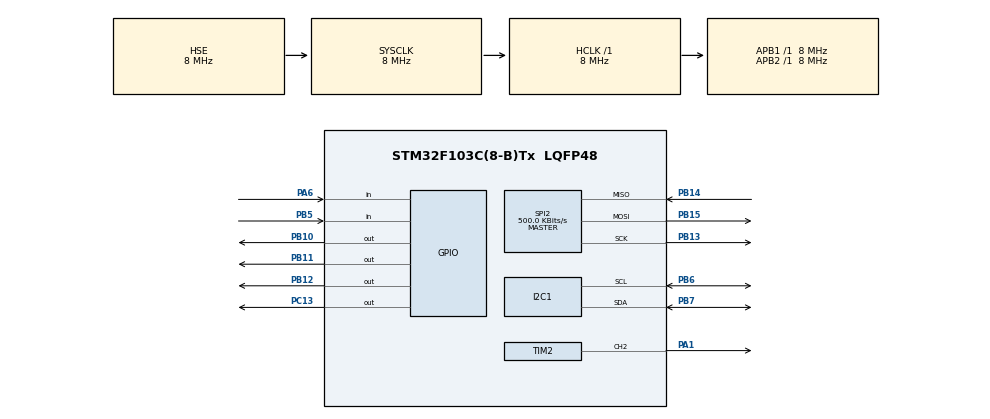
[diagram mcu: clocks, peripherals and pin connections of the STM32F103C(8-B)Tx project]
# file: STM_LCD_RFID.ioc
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Mcu.Family=STM32F1
RCC.PLLSourceVirtual=RCC_PLLSOURCE_HSE
PD1-OSC_OUT.Mode=HSE-External-Oscillator
PB10.GPIO_Speed=GPIO_SPEED_FREQ_MEDIUM
SPI2.VirtualType=VM_MASTER
PC13-TAMPER-RTC.Signal=GPIO_Output
PD0-OSC_IN.Signal=RCC_OSC_IN
TIM2.Channel-PWM\ Generation2\ CH2=TIM_CHANNEL_2
PB11.Signal=GPIO_Output
PB13.Signal=SPI2_SCK
PB15.Signal=SPI2_MOSI
RCC.SYSCLKSource=RCC_SYSCLKSOURCE_HSE
ProjectManager.StackSize=0x400
PB11.GPIO_Speed=GPIO_SPEED_FREQ_MEDIUM
PD1-OSC_OUT.Signal=RCC_OSC_OUT
PA13.Signal=SYS_JTMS-SWDIO
SH.S_TIM2_CH2.0=TIM2_CH2,PWM Generation2 CH2
ProjectManager.TargetToolchain=MDK-ARM V5
SPI2.CRCCalculation=SPI_CRCCALCULATION_DISABLE
RCC.HCLKFreq_Value=8000000
RCC.APB2TimFreq_Value=8000000
PB6.Signal=I2C1_SCL
PB12.PinState=GPIO_PIN_SET
PB6.Mode=I2C
RCC.USBFreq_Value=16000000
PA1.Signal=S_TIM2_CH2
RCC.AHBFreq_Value=8000000
SPI2.BaudRatePrescaler=SPI_BAUDRATEPRESCALER_16
PB12.GPIO_Speed=GPIO_SPEED_FREQ_HIGH
PD0-OSC_IN.Mode=HSE-External-Oscillator
PB10.Signal=GPIO_Output
PB14.Signal=SPI2_MISO
board=custom
PB15.Mode=Full_Duplex_Master
RCC.APB2Freq_Value=8000000
PA6.GPIO_PuPd=GPIO_PULLUP
TIM2.OCMode_PWM-PWM\ Generation2\ CH2=TIM_OCMODE_PWM1
VP_TIM2_VS_ClockSourceINT.Mode=Internal
PA14.Mode=Serial_Wire
PB14.Mode=Full_Duplex_Master
SPI2.CalculateBaudRate=500.0 KBits/s
PB7.Signal=I2C1_SDA
TIM2.Period=200
PC13-TAMPER-RTC.GPIO_Speed=GPIO_SPEED_FREQ_MEDIUM
PA13.Mode=Serial_Wire
Mcu.Name=STM32F103C(8-B)Tx
RCC.SYSCLKFreq_VALUE=8000000
Mcu.Package=LQFP48
PB5.Signal=GPIO_Input
TIM2.Prescaler=799
PA6.Signal=GPIO_Input
SPI2.Mode=SPI_MODE_MASTER
PB5.GPIO_PuPd=GPIO_PULLUP
PB7.Mode=I2C
PA14.Signal=SYS_JTCK-SWCLK
ProjectManager.HeapSize=0x200
PB11.PinState=GPIO_PIN_SET
NVIC.PriorityGroup=NVIC_PRIORITYGROUP_4
RCC.APB1TimFreq_Value=8000000
SPI2.Direction=SPI_DIRECTION_2LINES
PB13.Mode=Full_Duplex_Master
RCC.APB1Freq_Value=8000000
PB12.Signal=GPIO_Output

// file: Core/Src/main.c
/* USER CODE BEGIN Header */
/**
  ******************************************************************************
  * @file           : main.c
  * @brief          : Main program body
  ******************************************************************************
  * @attention
  *
  * <h2><center>&copy; Copyright (c) 2024 STMicroelectronics.
  * All rights reserved.</center></h2>
  *
  * This software component is licensed by ST under BSD 3-Clause license,
  * the "License"; You may not use this file except in compliance with the
  * License. You may obtain a copy of the License at:
  *                        opensource.org/licenses/BSD-3-Clause
  *
  ******************************************************************************
  */
/* USER CODE END Header */
#include "main.h"

/* USER CODE BEGIN Includes */
#include "i2c-lcd.h"
//#include "spi.h"
#include "stdio.h"
#include "string.h"
#include "mfrc522.h"
/* USER CODE END Includes */

/* USER CODE BEGIN PTD */

uint8_t CardID[5];
char szBuff[100];
short isOpen = 0;
int RFID_Success = 0;
short updateDoor = 0;
short updateLCD = 0;
short StateDoor = 0;
uint8_t CardIDSET[5] = {0x23,0xD9,0xAE,0xEC,0xB8};
char szBuff[100];
/* USER CODE END PTD */

I2C_HandleTypeDef hi2c1;

SPI_HandleTypeDef hspi2;

TIM_HandleTypeDef htim2;

void SystemClock_Config(void);
static void MX_GPIO_Init(void);
static void MX_I2C1_Init(void);
static void MX_TIM2_Init(void);
static void MX_SPI2_Init(void);
/* USER CODE BEGIN PFP */
int DoorClose();
int DoorOpen();
void BuzzerError(void);
void BuzzerSuccess(void);
/* USER CODE END PFP */

int main(void)
{

  /* MCU Configuration--------------------------------------------------------*/

  /* Reset of all peripherals, Initializes the Flash interface and the Systick. */
  HAL_Init();

  /* Configure the system clock */
  SystemClock_Config();

  /* Initialize all configured peripherals */
  MX_GPIO_Init();
  MX_I2C1_Init();
  MX_TIM2_Init();
  MX_SPI2_Init();
  /* USER CODE BEGIN 2 */
  //HAL_GPIO_WritePin(RC522_Rst_GPIO_Port, RC522_Rst_Pin, GPIO_PIN_SET);
	HAL_Delay(100);
  TM_MFRC522_Init();
  HAL_TIM_PWM_Start(&htim2, TIM_CHANNEL_2);
	lcd_init();
	lcd_goto_XY(1,2);
	lcd_send_string("-SMART BOX-");
	HAL_Delay(2000);

  /* USER CODE END 2 */

  /* Infinite loop */
  while (1)
  {

    /* USER CODE BEGIN 3 */

		if (TM_MFRC522_Check(CardID) == MI_OK) {
			int checkCard = 0;
			for (int k = 0; k < 5; k++)
			{
				if (CardID[k] != CardIDSET[k])
				{
					break;
				}
				else
				{
					checkCard++;
				}
			}
			if (checkCard == 5)
			{
				RFID_Success = 1;
			}
			else
			{
				RFID_Success = 2;
			}
			updateLCD = 1;
		}
		if (updateLCD || (RFID_Success != 0))
		{
			updateLCD = 0;
			sprintf(szBuff, "ID: 0x%02X%02X%02X%02X%02X", CardID[0], CardID[1], CardID[2], CardID[3], CardID[4]);
			lcd_goto_XY(1,0);
			lcd_send_string(szBuff);
			if (RFID_Success == 1)
			{
				if (StateDoor == 0)
				{
					lcd_goto_XY(2,0);
					lcd_send_string("Cua dang mo    ");
					BuzzerSuccess();
					HAL_Delay(1000);
					StateDoor = 1;
					updateDoor = 1;
					lcd_goto_XY(2,0);
					lcd_send_string("              ");
				}
				RFID_Success = 0;
			}
			else if (RFID_Success == 2)
			{
				lcd_goto_XY(2,0);
				lcd_send_string("The khong dung! ");
				BuzzerError();
				HAL_Delay(3000);
				RFID_Success = 0;
				lcd_goto_XY(2,0);
				lcd_send_string("                 ");
			}
		}
		if (updateDoor)
		{
			updateDoor = 0;
			lcd_goto_XY(1,0);
			lcd_send_string("  -SMART BOX-   ");
			lcd_goto_XY(2,0);
			lcd_send_string("                ");
			if (StateDoor == 0)
			{
				__HAL_TIM_SET_COMPARE(&htim2,TIM_CHANNEL_2, 7);
			}
			else
			{
				__HAL_TIM_SET_COMPARE(&htim2,TIM_CHANNEL_2, 18);
			}
		}
		if (StateDoor == 1)
		{
			if (isOpen == 0)
			{
				if (DoorOpen() == 1)
				{
					isOpen = 1;
					BuzzerSuccess();

				}
				else
				{
					lcd_goto_XY(2,0);
					lcd_send_string("Xin moi mo cua..");
					HAL_Delay(500);
				}
			}
			else
			{
				if (DoorClose() == 1)
				{
					HAL_Delay(2000);
					lcd_goto_XY(2,0);
					lcd_send_string("Cua dang khoa   ");
					BuzzerSuccess();
					HAL_Delay(1000);
					StateDoor = 0;
					updateDoor = 1;
					isOpen = 0;
				}
				else
				{
						lcd_goto_XY(2,0);
						lcd_send_string("Xin moi dong cua");
						HAL_Delay(500);
				}
			}
		}
//		HAL_GPIO_TogglePin(GPIOC,GPIO_PIN_13);
	//	HAL_Delay(1000);
  }
  /* USER CODE END 3 */
}

void SystemClock_Config(void)
{
  RCC_OscInitTypeDef RCC_OscInitStruct = {0};
  RCC_ClkInitTypeDef RCC_ClkInitStruct = {0};

  /** Initializes the RCC Oscillators according to the specified parameters
  * in the RCC_OscInitTypeDef structure.
  */
  RCC_OscInitStruct.OscillatorType = RCC_OSCILLATORTYPE_HSE;
  RCC_OscInitStruct.HSEState = RCC_HSE_ON;
  RCC_OscInitStruct.PLL.PLLState = RCC_PLL_NONE;
  if (HAL_RCC_OscConfig(&RCC_OscInitStruct) != HAL_OK)
  {
    Error_Handler();
  }
  /** Initializes the CPU, AHB and APB buses clocks
  */
  RCC_ClkInitStruct.ClockType = RCC_CLOCKTYPE_HCLK|RCC_CLOCKTYPE_SYSCLK
                              |RCC_CLOCKTYPE_PCLK1|RCC_CLOCKTYPE_PCLK2;
  RCC_ClkInitStruct.SYSCLKSource = RCC_SYSCLKSOURCE_HSE;
  RCC_ClkInitStruct.AHBCLKDivider = RCC_SYSCLK_DIV1;
  RCC_ClkInitStruct.APB1CLKDivider = RCC_HCLK_DIV1;
  RCC_ClkInitStruct.APB2CLKDivider = RCC_HCLK_DIV1;

  if (HAL_RCC_ClockConfig(&RCC_ClkInitStruct, FLASH_LATENCY_0) != HAL_OK)
  {
    Error_Handler();
  }
}

static void MX_I2C1_Init(void)
{

  hi2c1.Instance = I2C1;
  hi2c1.Init.ClockSpeed = 100000;
  hi2c1.Init.DutyCycle = I2C_DUTYCYCLE_2;
  hi2c1.Init.OwnAddress1 = 0;
  hi2c1.Init.AddressingMode = I2C_ADDRESSINGMODE_7BIT;
  hi2c1.Init.DualAddressMode = I2C_DUALADDRESS_DISABLE;
  hi2c1.Init.OwnAddress2 = 0;
  hi2c1.Init.GeneralCallMode = I2C_GENERALCALL_DISABLE;
  hi2c1.Init.NoStretchMode = I2C_NOSTRETCH_DISABLE;
  if (HAL_I2C_Init(&hi2c1) != HAL_OK)
  {
    Error_Handler();
  }

}

static void MX_SPI2_Init(void)
{

  /* SPI2 parameter configuration*/
  hspi2.Instance = SPI2;
  hspi2.Init.Mode = SPI_MODE_MASTER;
  hspi2.Init.Direction = SPI_DIRECTION_2LINES;
  hspi2.Init.DataSize = SPI_DATASIZE_8BIT;
  hspi2.Init.CLKPolarity = SPI_POLARITY_LOW;
  hspi2.Init.CLKPhase = SPI_PHASE_1EDGE;
  hspi2.Init.NSS = SPI_NSS_SOFT;
  hspi2.Init.BaudRatePrescaler = SPI_BAUDRATEPRESCALER_16;
  hspi2.Init.FirstBit = SPI_FIRSTBIT_MSB;
  hspi2.Init.TIMode = SPI_TIMODE_DISABLE;
  hspi2.Init.CRCCalculation = SPI_CRCCALCULATION_DISABLE;
  hspi2.Init.CRCPolynomial = 10;
  if (HAL_SPI_Init(&hspi2) != HAL_OK)
  {
    Error_Handler();
  }

}

static void MX_TIM2_Init(void)
{

  TIM_ClockConfigTypeDef sClockSourceConfig = {0};
  TIM_MasterConfigTypeDef sMasterConfig = {0};
  TIM_OC_InitTypeDef sConfigOC = {0};

  htim2.Instance = TIM2;
  htim2.Init.Prescaler = 799;
  htim2.Init.CounterMode = TIM_COUNTERMODE_UP;
  htim2.Init.Period = 200;
  htim2.Init.ClockDivision = TIM_CLOCKDIVISION_DIV1;
  htim2.Init.AutoReloadPreload = TIM_AUTORELOAD_PRELOAD_DISABLE;
  if (HAL_TIM_Base_Init(&htim2) != HAL_OK)
  {
    Error_Handler();
  }
  sClockSourceConfig.ClockSource = TIM_CLOCKSOURCE_INTERNAL;
  if (HAL_TIM_ConfigClockSource(&htim2, &sClockSourceConfig) != HAL_OK)
  {
    Error_Handler();
  }
  if (HAL_TIM_PWM_Init(&htim2) != HAL_OK)
  {
    Error_Handler();
  }
  sMasterConfig.MasterOutputTrigger = TIM_TRGO_RESET;
  sMasterConfig.MasterSlaveMode = TIM_MASTERSLAVEMODE_DISABLE;
  if (HAL_TIMEx_MasterConfigSynchronization(&htim2, &sMasterConfig) != HAL_OK)
  {
    Error_Handler();
  }
  sConfigOC.OCMode = TIM_OCMODE_PWM1;
  sConfigOC.Pulse = 0;
  sConfigOC.OCPolarity = TIM_OCPOLARITY_HIGH;
  sConfigOC.OCFastMode = TIM_OCFAST_DISABLE;
  if (HAL_TIM_PWM_ConfigChannel(&htim2, &sConfigOC, TIM_CHANNEL_2) != HAL_OK)
  {
    Error_Handler();
  }
  HAL_TIM_MspPostInit(&htim2);

}

static void MX_GPIO_Init(void)
{
  GPIO_InitTypeDef GPIO_InitStruct = {0};

  /* GPIO Ports Clock Enable */
  __HAL_RCC_GPIOC_CLK_ENABLE();
  __HAL_RCC_GPIOD_CLK_ENABLE();
  __HAL_RCC_GPIOA_CLK_ENABLE();
  __HAL_RCC_GPIOB_CLK_ENABLE();

  /*Configure GPIO pin Output Level */
  HAL_GPIO_WritePin(GPIOC, GPIO_PIN_13, GPIO_PIN_RESET);

  /*Configure GPIO pin Output Level */
  HAL_GPIO_WritePin(GPIOB, GPIO_PIN_10, GPIO_PIN_RESET);

  /*Configure GPIO pin Output Level */
  HAL_GPIO_WritePin(GPIOB, GPIO_PIN_11|GPIO_PIN_12, GPIO_PIN_SET);

  /*Configure GPIO pin : PC13 */
  GPIO_InitStruct.Pin = GPIO_PIN_13;
  GPIO_InitStruct.Mode = GPIO_MODE_OUTPUT_PP;
  GPIO_InitStruct.Pull = GPIO_NOPULL;
  GPIO_InitStruct.Speed = GPIO_SPEED_FREQ_MEDIUM;
  HAL_GPIO_Init(GPIOC, &GPIO_InitStruct);

  /*Configure GPIO pin : PA6 */
  GPIO_InitStruct.Pin = GPIO_PIN_6;
  GPIO_InitStruct.Mode = GPIO_MODE_INPUT;
  GPIO_InitStruct.Pull = GPIO_PULLUP;
  HAL_GPIO_Init(GPIOA, &GPIO_InitStruct);

  /*Configure GPIO pins : PB10 PB11 */
  GPIO_InitStruct.Pin = GPIO_PIN_10|GPIO_PIN_11;
  GPIO_InitStruct.Mode = GPIO_MODE_OUTPUT_PP;
  GPIO_InitStruct.Pull = GPIO_NOPULL;
  GPIO_InitStruct.Speed = GPIO_SPEED_FREQ_MEDIUM;
  HAL_GPIO_Init(GPIOB, &GPIO_InitStruct);

  /*Configure GPIO pin : PB12 */
  GPIO_InitStruct.Pin = GPIO_PIN_12;
  GPIO_InitStruct.Mode = GPIO_MODE_OUTPUT_PP;
  GPIO_InitStruct.Pull = GPIO_NOPULL;
  GPIO_InitStruct.Speed = GPIO_SPEED_FREQ_HIGH;
  HAL_GPIO_Init(GPIOB, &GPIO_InitStruct);

  /*Configure GPIO pin : PB5 */
  GPIO_InitStruct.Pin = GPIO_PIN_5;
  GPIO_InitStruct.Mode = GPIO_MODE_INPUT;
  GPIO_InitStruct.Pull = GPIO_PULLUP;
  HAL_GPIO_Init(GPIOB, &GPIO_InitStruct);

}

/* USER CODE BEGIN 4 */
//------------------------------------------------------
void BuzzerError()
{
	for (int times = 0; times < 3; times++)
	{
		HAL_GPIO_WritePin(GPIOB, GPIO_PIN_10, GPIO_PIN_SET);
		HAL_Delay(200);
		HAL_GPIO_WritePin(GPIOB, GPIO_PIN_10, GPIO_PIN_RESET);
		HAL_Delay(200);
	}
}
void BuzzerSuccess()
{
	HAL_GPIO_WritePin(GPIOB, GPIO_PIN_10, GPIO_PIN_SET);
	HAL_Delay(500);
	HAL_GPIO_WritePin(GPIOB, GPIO_PIN_10, GPIO_PIN_RESET);
	HAL_Delay(500);
}
int DoorClose()
{
	int Sensor = HAL_GPIO_ReadPin(GPIOA,GPIO_PIN_6);
	if (Sensor == 0)
		return 1;
	else
		return 0;
}
int DoorOpen()
{
	int Sensor = HAL_GPIO_ReadPin(GPIOA,GPIO_PIN_6);
	if (Sensor == 1)
		return 1;
	else
		return 0;
}
void TM_MFRC522_Init(void) {
	HAL_GPIO_WritePin(GPIOB,GPIO_PIN_12,GPIO_PIN_SET);						// Activate the RFID reader
	HAL_GPIO_WritePin(GPIOB,GPIO_PIN_11,GPIO_PIN_SET);					// not reset
	//TM_SPI_Init();

	TM_MFRC522_Reset();

	TM_MFRC522_WriteRegister(MFRC522_REG_T_MODE, 0x8D);
	TM_MFRC522_WriteRegister(MFRC522_REG_T_PRESCALER, 0x3E);
	TM_MFRC522_WriteRegister(MFRC522_REG_T_RELOAD_L, 30);
	TM_MFRC522_WriteRegister(MFRC522_REG_T_RELOAD_H, 0);

	/* 48dB gain */
	TM_MFRC522_WriteRegister(MFRC522_REG_RF_CFG, 0x70);

	TM_MFRC522_WriteRegister(MFRC522_REG_TX_AUTO, 0x40);
	TM_MFRC522_WriteRegister(MFRC522_REG_MODE, 0x3D);

	TM_MFRC522_AntennaOn();		//Open the antenna
}

TM_MFRC522_Status_t TM_MFRC522_Check(uint8_t* id) {
	TM_MFRC522_Status_t status;
	//Find cards, return card type
	status = TM_MFRC522_Request(PICC_REQIDL, id);
	if (status == MI_OK) {
		//Card detected
		//Anti-collision, return card serial number 4 bytes
		status = TM_MFRC522_Anticoll(id);
	}
	TM_MFRC522_Halt();			//Command card into hibernation

	return status;
}

TM_MFRC522_Status_t TM_MFRC522_Compare(uint8_t* CardID, uint8_t* CompareID) {
	uint8_t i;
	for (i = 0; i < 5; i++) {
		if (CardID[i] != CompareID[i]) {
			return MI_ERR;
		}
	}
	return MI_OK;
}

//==================================================
//ham nay can thay doi vi cau truc F1 khac F4
void TM_MFRC522_WriteRegister(uint8_t addr, uint8_t val) {
	unsigned char addr_bits = (((addr<<1) & 0x7E));
	/* CS LOW */
	HAL_GPIO_WritePin(GPIOB, GPIO_PIN_12,GPIO_PIN_RESET);

	//Dinh dang dia chi:0XXXXXX0
	HAL_SPI_Transmit(&hspi2, &addr_bits, 1, 500);
	HAL_SPI_Transmit(&hspi2, &val, 1, 500);

	/* CS HIGH */
	HAL_GPIO_WritePin(GPIOB, GPIO_PIN_12,GPIO_PIN_SET);
}

uint8_t TM_MFRC522_ReadRegister(uint8_t addr) {

	unsigned char rx_bits;
  unsigned char addr_bits = (((addr<<1) & 0x7E) | 0x80);
	/* CS LOW */
	HAL_GPIO_WritePin(GPIOB, GPIO_PIN_12,GPIO_PIN_RESET);
	//Dinh dang dia chi:1XXXXXX0
	HAL_SPI_Transmit(&hspi2, &addr_bits, 1, 500);
	HAL_SPI_Receive(&hspi2, &rx_bits, 1, 500);

	/* CS HIGH */
	HAL_GPIO_WritePin(GPIOB, GPIO_PIN_12, GPIO_PIN_SET);

	return rx_bits; // return the rx bits, casting to an 8 bit int and chopping off the upper 24 bits
}

void TM_MFRC522_SetBitMask(uint8_t reg, uint8_t mask) {
	TM_MFRC522_WriteRegister(reg, TM_MFRC522_ReadRegister(reg) | mask);
}

void TM_MFRC522_ClearBitMask(uint8_t reg, uint8_t mask){
	TM_MFRC522_WriteRegister(reg, TM_MFRC522_ReadRegister(reg) & (~mask));
}

void TM_MFRC522_AntennaOn(void) {
	uint8_t temp;

	temp = TM_MFRC522_ReadRegister(MFRC522_REG_TX_CONTROL);
	if (!(temp & 0x03)) {
		TM_MFRC522_SetBitMask(MFRC522_REG_TX_CONTROL, 0x03);
	}
}

void TM_MFRC522_AntennaOff(void) {
	TM_MFRC522_ClearBitMask(MFRC522_REG_TX_CONTROL, 0x03);
}

void TM_MFRC522_Reset(void) {
	TM_MFRC522_WriteRegister(MFRC522_REG_COMMAND, PCD_RESETPHASE);
}

TM_MFRC522_Status_t TM_MFRC522_Request(uint8_t reqMode, uint8_t* TagType) {
	TM_MFRC522_Status_t status;
	uint16_t backBits;			//The received data bits

	TM_MFRC522_WriteRegister(MFRC522_REG_BIT_FRAMING, 0x07);		//TxLastBists = BitFramingReg[2..0]	???

	TagType[0] = reqMode;
	status = TM_MFRC522_ToCard(PCD_TRANSCEIVE, TagType, 1, TagType, &backBits);

	if ((status != MI_OK) || (backBits != 0x10)) {
		status = MI_ERR;
	}

	return status;
}

TM_MFRC522_Status_t TM_MFRC522_ToCard(uint8_t command, uint8_t* sendData, uint8_t sendLen, uint8_t* backData, uint16_t* backLen) {
	TM_MFRC522_Status_t status = MI_ERR;
	uint8_t irqEn = 0x00;
	uint8_t waitIRq = 0x00;
	uint8_t lastBits;
	uint8_t n;
	uint16_t i;

	switch (command) {
		case PCD_AUTHENT: {
			irqEn = 0x12;
			waitIRq = 0x10;
			break;
		}
		case PCD_TRANSCEIVE: {
			irqEn = 0x77;
			waitIRq = 0x30;
			break;
		}
		default:
			break;
	}

	TM_MFRC522_WriteRegister(MFRC522_REG_COMM_IE_N, irqEn | 0x80);
	TM_MFRC522_ClearBitMask(MFRC522_REG_COMM_IRQ, 0x80);
	TM_MFRC522_SetBitMask(MFRC522_REG_FIFO_LEVEL, 0x80);

	TM_MFRC522_WriteRegister(MFRC522_REG_COMMAND, PCD_IDLE);

	//Writing data to the FIFO
	for (i = 0; i < sendLen; i++) {
		TM_MFRC522_WriteRegister(MFRC522_REG_FIFO_DATA, sendData[i]);
	}

	//Execute the command
	TM_MFRC522_WriteRegister(MFRC522_REG_COMMAND, command);
	if (command == PCD_TRANSCEIVE) {
		TM_MFRC522_SetBitMask(MFRC522_REG_BIT_FRAMING, 0x80);		//StartSend=1,transmission of data starts
	}

	//Waiting to receive data to complete
	i = 2000;	//i according to the clock frequency adjustment, the operator M1 card maximum waiting time 25ms???
	do {
		//CommIrqReg[7..0]
		//Set1 TxIRq RxIRq IdleIRq HiAlerIRq LoAlertIRq ErrIRq TimerIRq
		n = TM_MFRC522_ReadRegister(MFRC522_REG_COMM_IRQ);
		i--;
	} while ((i!=0) && !(n&0x01) && !(n&waitIRq));

	TM_MFRC522_ClearBitMask(MFRC522_REG_BIT_FRAMING, 0x80);			//StartSend=0

	if (i != 0)  {
		if (!(TM_MFRC522_ReadRegister(MFRC522_REG_ERROR) & 0x1B)) {
			status = MI_OK;
			if (n & irqEn & 0x01) {
				status = MI_NOTAGERR;
			}

			if (command == PCD_TRANSCEIVE) {
				n = TM_MFRC522_ReadRegister(MFRC522_REG_FIFO_LEVEL);
				lastBits = TM_MFRC522_ReadRegister(MFRC522_REG_CONTROL) & 0x07;
				if (lastBits) {
					*backLen = (n - 1) * 8 + lastBits;
				} else {
					*backLen = n * 8;
				}

				if (n == 0) {
					n = 1;
				}
				if (n > MFRC522_MAX_LEN) {
					n = MFRC522_MAX_LEN;
				}

				//Reading the received data in FIFO
				for (i = 0; i < n; i++) {
					backData[i] = TM_MFRC522_ReadRegister(MFRC522_REG_FIFO_DATA);
				}
			}
		} else {
			status = MI_ERR;
		}
	}

	return status;
}

TM_MFRC522_Status_t TM_MFRC522_Anticoll(uint8_t* serNum) {
	TM_MFRC522_Status_t status;
	uint8_t i;
	uint8_t serNumCheck = 0;
	uint16_t unLen;

	TM_MFRC522_WriteRegister(MFRC522_REG_BIT_FRAMING, 0x00);		//TxLastBists = BitFramingReg[2..0]

	serNum[0] = PICC_ANTICOLL;
	serNum[1] = 0x20;
	status = TM_MFRC522_ToCard(PCD_TRANSCEIVE, serNum, 2, serNum, &unLen);

	if (status == MI_OK) {
		//Check card serial number
		for (i = 0; i < 4; i++) {
			serNumCheck ^= serNum[i];
		}
		if (serNumCheck != serNum[i]) {
			status = MI_ERR;
		}
	}
	return status;
}

void TM_MFRC522_CalculateCRC(uint8_t*  pIndata, uint8_t len, uint8_t* pOutData) {
	uint8_t i, n;

	TM_MFRC522_ClearBitMask(MFRC522_REG_DIV_IRQ, 0x04);			//CRCIrq = 0
	TM_MFRC522_SetBitMask(MFRC522_REG_FIFO_LEVEL, 0x80);			//Clear the FIFO pointer
	//Write_MFRC522(CommandReg, PCD_IDLE);

	//Writing data to the FIFO
	for (i = 0; i < len; i++) {
		TM_MFRC522_WriteRegister(MFRC522_REG_FIFO_DATA, *(pIndata+i));
	}
	TM_MFRC522_WriteRegister(MFRC522_REG_COMMAND, PCD_CALCCRC);

	//Wait CRC calculation is complete
	i = 0xFF;
	do {
		n = TM_MFRC522_ReadRegister(MFRC522_REG_DIV_IRQ);
		i--;
	} while ((i!=0) && !(n&0x04));			//CRCIrq = 1

	//Read CRC calculation result
	pOutData[0] = TM_MFRC522_ReadRegister(MFRC522_REG_CRC_RESULT_L);
	pOutData[1] = TM_MFRC522_ReadRegister(MFRC522_REG_CRC_RESULT_M);
}

uint8_t TM_MFRC522_SelectTag(uint8_t* serNum) {
	uint8_t i;
	TM_MFRC522_Status_t status;
	uint8_t size;
	uint16_t recvBits;
	uint8_t buffer[9];

	buffer[0] = PICC_SElECTTAG;
	buffer[1] = 0x70;
	for (i = 0; i < 5; i++) {
		buffer[i+2] = *(serNum+i);
	}
	TM_MFRC522_CalculateCRC(buffer, 7, &buffer[7]);		//??
	status = TM_MFRC522_ToCard(PCD_TRANSCEIVE, buffer, 9, buffer, &recvBits);

	if ((status == MI_OK) && (recvBits == 0x18)) {
		size = buffer[0];
	} else {
		size = 0;
	}

	return size;
}

TM_MFRC522_Status_t TM_MFRC522_Auth(uint8_t authMode, uint8_t BlockAddr, uint8_t* Sectorkey, uint8_t* serNum) {
	TM_MFRC522_Status_t status;
	uint16_t recvBits;
	uint8_t i;
	uint8_t buff[12];

	//Verify the command block address + sector + password + card serial number
	buff[0] = authMode;
	buff[1] = BlockAddr;
	for (i = 0; i < 6; i++) {
		buff[i+2] = *(Sectorkey+i);
	}
	for (i=0; i<4; i++) {
		buff[i+8] = *(serNum+i);
	}
	status = TM_MFRC522_ToCard(PCD_AUTHENT, buff, 12, buff, &recvBits);

	if ((status != MI_OK) || (!(TM_MFRC522_ReadRegister(MFRC522_REG_STATUS2) & 0x08))) {
		status = MI_ERR;
	}

	return status;
}

TM_MFRC522_Status_t TM_MFRC522_Read(uint8_t blockAddr, uint8_t* recvData) {
	TM_MFRC522_Status_t status;
	uint16_t unLen;

	recvData[0] = PICC_READ;
	recvData[1] = blockAddr;
	TM_MFRC522_CalculateCRC(recvData,2, &recvData[2]);
	status = TM_MFRC522_ToCard(PCD_TRANSCEIVE, recvData, 4, recvData, &unLen);

	if ((status != MI_OK) || (unLen != 0x90)) {
		status = MI_ERR;
	}

	return status;
}

TM_MFRC522_Status_t TM_MFRC522_Write(uint8_t blockAddr, uint8_t* writeData) {
	TM_MFRC522_Status_t status;
	uint16_t recvBits;
	uint8_t i;
	uint8_t buff[18];

	buff[0] = PICC_WRITE;
	buff[1] = blockAddr;
	TM_MFRC522_CalculateCRC(buff, 2, &buff[2]);
	status = TM_MFRC522_ToCard(PCD_TRANSCEIVE, buff, 4, buff, &recvBits);

	if ((status != MI_OK) || (recvBits != 4) || ((buff[0] & 0x0F) != 0x0A)) {
		status = MI_ERR;
	}

	if (status == MI_OK) {
		//Data to the FIFO write 16Byte
		for (i = 0; i < 16; i++) {
			buff[i] = *(writeData+i);
		}
		TM_MFRC522_CalculateCRC(buff, 16, &buff[16]);
		status = TM_MFRC522_ToCard(PCD_TRANSCEIVE, buff, 18, buff, &recvBits);

		if ((status != MI_OK) || (recvBits != 4) || ((buff[0] & 0x0F) != 0x0A)) {
			status = MI_ERR;
		}
	}

	return status;
}

void TM_MFRC522_Halt(void) {
	uint16_t unLen;
	uint8_t buff[4];

	buff[0] = PICC_HALT;
	buff[1] = 0;
	TM_MFRC522_CalculateCRC(buff, 2, &buff[2]);

	TM_MFRC522_ToCard(PCD_TRANSCEIVE, buff, 4, buff, &unLen);
}

/*
 * Ten ham:Write_MFRC5200
 * Chuc nang: Viet 1 byte du lieu vao thanh ghi MFRC522
 * Input:addr-> DIa chi ghi, val-> Gia tri de ghi
 * Tra ve: Khong
 */

/*
 * Ten ham:Write_MFRC5200
 * Chuc nang: Viet 1 byte du lieu vao thanh ghi MFRC522
 * Input:addr-> DIa chi ghi, val-> Gia tri de ghi
 * Tra ve: Khong
 */
//void Write_MFRC522(uchar addr, uchar val)
//{
//	uchar addr_bits = (((addr<<1) & 0x7E));
//	/* CS LOW */
//	HAL_GPIO_WritePin(MFRC522_CS_GPIO, MFRC522_CS_PIN,GPIO_PIN_RESET);

//	//Dinh dang dia chi:0XXXXXX0
//	HAL_SPI_Transmit(&hspi2, &addr_bits, 1, 500);
//	HAL_SPI_Transmit(&hspi2, &val, 1, 500);
//
//	/* CS HIGH */
//	HAL_GPIO_WritePin(MFRC522_CS_GPIO, MFRC522_CS_PIN,GPIO_PIN_SET);
//}

///*
// * Ten ham:Read_MFRC522
// * Chuc nang:Doc 1 byte du lieu tu 1 thanh ghi MFRC522
// * Input:addr-> dia chi doc
// * Tra ve: Gia tri trong thanh ghi doc ve
// */
//uchar Read_MFRC522(uchar addr)
//{
//	uchar rx_bits;
//  uchar addr_bits = (((addr<<1) & 0x7E) | 0x80);
//	/* CS LOW */
//	HAL_GPIO_WritePin(MFRC522_CS_GPIO, MFRC522_CS_PIN,GPIO_PIN_RESET);
//	//Dinh dang dia chi:1XXXXXX0
//	HAL_SPI_Transmit(&hspi2, &addr_bits, 1, 500);
//	HAL_SPI_Receive(&hspi2, &rx_bits, 1, 500);
//
//	/* CS HIGH */
//	HAL_GPIO_WritePin(MFRC522_CS_GPIO, MFRC522_CS_PIN, GPIO_PIN_SET);
//
//	return (uchar) rx_bits; // return the rx bits, casting to an 8 bit int and chopping off the upper 24 bits
//
//}

///*
// * Ten ham:SetBitMask
// * Chuc nang:Set bit trong mot thanh ghi MFRC522
// * Input:reg--Thanh ghi cai dat; mask--gia tri set
// * Tra ve: Khong
// */
//void SetBitMask(uchar reg, uchar mask)
//{
//    uchar tmp;
//    tmp = Read_MFRC522(reg);
//    Write_MFRC522(reg, tmp | mask);  // set bit mask
//}

///*
// * Ten ham:ClearBitMask
// * Chuc nang:Reset bit trong thanh ghi MFRC522
// * Input:reg--Dia chi thanh ghi; mask--Gia tri bit can clear
// * Tra ve: Khong
// */
//void ClearBitMask(uchar reg, uchar mask)
//{
//    uchar tmp;
//    tmp = Read_MFRC522(reg);
//    Write_MFRC522(reg, tmp & (~mask));  // clear bit mask
//}

///*
// * Ten Ham:AntennaOn
// * Chuc Nang:Mo anten, nen co it nhat 1 ms
// * Input: khong
// * Tra ve: khong
// */
//void AntennaOn(void)
//{
//	uchar temp;

//	temp = Read_MFRC522(TxControlReg);
////	if (!(temp & 0x03))
////	{
////		SetBitMask(TxControlReg, 0x03);
////	}
//	SetBitMask(TxControlReg, 0x03);
//}

///*
// * Ten ham:AntennaOff
// * chuc nang:Dong Anten, nen co it nhat 1 ms
// * Input:khong
// * Tra ve: khong
// */
//void AntennaOff(void)
//{
//	ClearBitMask(TxControlReg, 0x03);
//}

///*
// * Ten ham:ResetMFRC522
// * Chuc nang:Khoi dong lai RC522
// * Input: Khong
// * Return: Khong
// */
//void MFRC522_Reset(void)
//{
//    Write_MFRC522(CommandReg, PCD_RESETPHASE);
//}

///*
// * Ten ham:MFRC522_SPI_Init
// * Chuc nang:Khoi tao SPI
// * Input: Khong
// * Tra va: Khong
// */
////void MFRC522_SPI_Init(void)
////{
////	GPIO_InitTypeDef GPIO_InitStruct;
////	SPI_InitTypeDef SPI_InitStruct;
////
////	RCC_APB2PeriphClockCmd(MFRC522_SPI_GPIO_RCC | RCC_APB2Periph_AFIO,ENABLE);		// Enable clock GPIO
////
////	if(MFRC522_SPI==SPI1)
////	{
////		RCC_APB2PeriphClockCmd(MFRC522_SPI_RCC,ENABLE);																// Enable clock SPI1
////	}
////	else
////	{
////		RCC_APB1PeriphClockCmd(MFRC522_SPI_RCC,ENABLE);																// Enable clock SPI2 or SPI3
////	}
////
////	GPIO_InitStruct.GPIO_Pin = MFRC522_SCK_PIN | MFRC522_MISO_PIN | MFRC522_MOSI_PIN;	// SCK, MISO, MOSI
////	GPIO_InitStruct.GPIO_Mode = GPIO_Mode_AF_PP;
////	GPIO_InitStruct.GPIO_Speed = GPIO_Speed_50MHz;
////	GPIO_Init(MFRC522_SPI_GPIO, &GPIO_InitStruct);																	// init GPIO SPI

////	SPI_InitStruct.SPI_BaudRatePrescaler = SPI_BaudRatePrescaler_8;
////	SPI_InitStruct.SPI_Direction= SPI_Direction_2Lines_FullDuplex;
////	SPI_InitStruct.SPI_Mode = SPI_Mode_Master;
////	SPI_InitStruct.SPI_DataSize = SPI_DataSize_8b;
////	SPI_InitStruct.SPI_CPOL = SPI_CPOL_Low;
////	SPI_InitStruct.SPI_CPHA = SPI_CPHA_1Edge;
////	SPI_InitStruct.SPI_NSS = SPI_NSS_Soft;
////	SPI_InitStruct.SPI_FirstBit = SPI_FirstBit_MSB;
////	SPI_InitStruct.SPI_CRCPolynomial = 7;
////	SPI_Init(MFRC522_SPI, &SPI_InitStruct);

////	SPI_Cmd(MFRC522_SPI, ENABLE);
////}

///*
// * Ten ham:InitMFRC522
// * Chuc nang:Khoi tao RC522
// * Input: Khong
// * Tra va: Khong
// */
//void MFRC522_Init(void)
//{
//	/* Khoi tao SPI */
////	GPIO_InitTypeDef GPIO_InitStructure;
////	/* GPIOD Periph clock enable */
////  RCC_APB2PeriphClockCmd(MFRC522_CS_RCC | MFRC522_RST_RCC, ENABLE);

////  /* Configure CS is output pushpull mode */
////  GPIO_InitStructure.GPIO_Pin = MFRC522_CS_PIN;				// Set digital pin 10 as OUTPUT to connect it to the RFID /ENABLE pin
////  GPIO_InitStructure.GPIO_Speed = GPIO_Speed_50MHz;
////  GPIO_InitStructure.GPIO_Mode = GPIO_Mode_Out_PP;
////  GPIO_Init(MFRC522_CS_GPIO, &GPIO_InitStructure);
////
////  GPIO_InitStructure.GPIO_Pin = MFRC522_RST_PIN;			// Set digital pin 10 , Not Reset and Power-down
////	GPIO_Init(MFRC522_RST_GPIO, &GPIO_InitStructure);
////
//	HAL_GPIO_WritePin(MFRC522_CS_GPIO,MFRC522_CS_PIN,GPIO_PIN_SET);						// Activate the RFID reader
//	HAL_GPIO_WritePin(MFRC522_RST_GPIO,MFRC522_RST_PIN,GPIO_PIN_SET);					// not reset

//		// spi config
//	//MFRC522_SPI_Init();
//
//	MFRC522_Reset();
//
//	//Timer: TPrescaler*TreloadVal/6.78MHz = 24ms
//	Write_MFRC522(TModeReg, 0x8D);		//Tauto=1; f(Timer) = 6.78MHz/TPreScaler
//	Write_MFRC522(TPrescalerReg, 0x3E);	//TModeReg[3..0] + TPrescalerReg
//	Write_MFRC522(TReloadRegL, 30);
//	Write_MFRC522(TReloadRegH, 0);
//
//	Write_MFRC522(TxAutoReg, 0x40);		//100%ASK
//	Write_MFRC522(ModeReg, 0x3D);		//CRC Gia tri ban dau 0x6363	???

//	//ClearBitMask(Status2Reg, 0x08);		//MFCrypto1On=0
//	//Write_MFRC522(RxSelReg, 0x86);		//RxWait = RxSelReg[5..0]
//	//Write_MFRC522(RFCfgReg, 0x7F);   		//RxGain = 48dB

//	AntennaOn();		//Mo Anten
//}

///*
// * Ten ham:MFRC522_ToCard
// * Chuc nang:truyen thong giua RC522 va the ISO14443
// * Input:command--lenh gui den MF522,
// *			 sendData--Du lieu gui den the bang MFRC522,
// *			 sendLen--Chieu dai du lieu gui
// *			 backData--Du lieu nhan duoc tro lai
// *			 backLen--Tra ve do dai bit cua du lieu
// * Tra ve: MI_OK neu thanh cong
// */
//uchar MFRC522_ToCard(uchar command, uchar *sendData, uchar sendLen, uchar *backData, uint *backLen)
//{
//    uchar status = MI_ERR;
//    uchar irqEn = 0x00;
//    uchar waitIRq = 0x00;
//    uchar lastBits;
//    uchar n;
//    uint i;

//    switch (command)
//    {
//        case PCD_AUTHENT:		//Xac nhan the gan
//		{
//			irqEn = 0x12;
//			waitIRq = 0x10;
//			break;
//		}
//		case PCD_TRANSCEIVE:	// Gui du lieu FIFO
//		{
//			irqEn = 0x77;
//			waitIRq = 0x30;
//			break;
//		}
//		default:
//			break;
//    }
//
//    Write_MFRC522(CommIEnReg, irqEn|0x80);	//Yeu cau ngat
//    ClearBitMask(CommIrqReg, 0x80);			//Clear tat ca cac bit yeu cau ngat
//    SetBitMask(FIFOLevelReg, 0x80);			//FlushBuffer=1, Khoi tao FIFO
//
//	Write_MFRC522(CommandReg, PCD_IDLE);	//NO action; Huy bo lenh hien hanh	???

//	// Ghi du lieu vao FIFO
//    for (i=0; i<sendLen; i++)
//    {
//		Write_MFRC522(FIFODataReg, sendData[i]);
//	}

//	//chay
//	Write_MFRC522(CommandReg, command);
//    if (command == PCD_TRANSCEIVE)
//    {
//		SetBitMask(BitFramingReg, 0x80);		//StartSend=1,transmission of data starts
//	}
//
//	//Cho doi de nhan duoc du lieu day du
//	i = 2000;	//i tuy thuoc tan so thach anh, thoi gian toi da cho the M1 la 25ms
//    do
//    {
//		//CommIrqReg[7..0]
//		//Set1 TxIRq RxIRq IdleIRq HiAlerIRq LoAlertIRq ErrIRq TimerIRq
//        n = Read_MFRC522(CommIrqReg);
//        i--;
//    }
//    while ((i!=0) && !(n&0x01) && !(n&waitIRq));

//    ClearBitMask(BitFramingReg, 0x80);			//StartSend=0
//
//    if (i != 0)
//    {
//        if(!(Read_MFRC522(ErrorReg) & 0x1B))	//BufferOvfl Collerr CRCErr ProtecolErr
//        {
//            status = MI_OK;
//            if (n & irqEn & 0x01)
//            {
//				status = MI_NOTAGERR;			//??
//			}

//            if (command == PCD_TRANSCEIVE)
//            {
//               	n = Read_MFRC522(FIFOLevelReg);
//              	lastBits = Read_MFRC522(ControlReg) & 0x07;
//                if (lastBits)
//                {
//					*backLen = (n-1)*8 + lastBits;
//				}
//                else
//                {
//					*backLen = n*8;
//				}

//                if (n == 0)
//                {
//					n = 1;
//				}
//                if (n > MAX_LEN)
//                {
//					n = MAX_LEN;
//				}
//
//				//Doc FIFO trong cac du lieu nhan duoc
//                for (i=0; i<n; i++)
//                {
//					backData[i] = Read_MFRC522(FIFODataReg);
//				}
//            }
//        }
//        else
//        {
//			status = MI_ERR;
//		}
//
//    }
//
//    //SetBitMask(ControlReg,0x80);           //timer stops
//    //Write_MFRC522(CommandReg, PCD_IDLE);

//    return status;
//}

///*
// * Ten ham:MFRC522_Request
// * Chuc nang:Phat hien the, doc loai the
// * Input:reqMode--Phat hien co the,
// *			 TagType--Loai the tra ve
// *			 	0x4400 = Mifare_UltraLight
// *				0x0400 = Mifare_One(S50)
// *				0x0200 = Mifare_One(S70)
// *				0x0800 = Mifare_Pro(X)
// *				0x4403 = Mifare_DESFire
// * Return: MI_OK neu thanh cong
// */
//uchar MFRC522_Request(uchar reqMode, uchar *TagType)
//{
//	uchar status;
//	uint backBits;			//cac bit du lieu nhan duoc

//	Write_MFRC522(BitFramingReg, 0x07);		//TxLastBists = BitFramingReg[2..0]	???
//
//	TagType[0] = reqMode;
//	status = MFRC522_ToCard(PCD_TRANSCEIVE, TagType, 1, TagType, &backBits);

//	if ((status != MI_OK) || (backBits != 0x10))
//	{
//		status = MI_ERR;
//	}
//
//	return status;
//}

///*
// * Ten ham:MFRC522_Anticoll
// * Chuc nang:Phat hien chong va cham, chon the va doc so serial the
// * Input:serNum--Tra ve serial the 4 byte, byte 5 la ma checksum
// * Tra ve: MI_OK neu thanh cong
// */
//uchar MFRC522_Anticoll(uchar *serNum)
//{
//    uchar status;
//    uchar i;
//	uchar serNumCheck=0;
//    uint unLen;
//

//    //ClearBitMask(Status2Reg, 0x08);		//TempSensclear
//    //ClearBitMask(CollReg,0x80);			//ValuesAfterColl
//	Write_MFRC522(BitFramingReg, 0x00);		//TxLastBists = BitFramingReg[2..0]
//
//    serNum[0] = PICC_ANTICOLL;
//    serNum[1] = 0x20;
//    status = MFRC522_ToCard(PCD_TRANSCEIVE, serNum, 2, serNum, &unLen);

//    if (status == MI_OK)
//	{
//		//Kiem tra so serial the
//		for (i=0; i<4; i++)
//		{
//		 	serNumCheck ^= serNum[i];
//		}
//		if (serNumCheck != serNum[i])
//		{
//			status = MI_ERR;
//		}
//    }

//    //SetBitMask(CollReg, 0x80);		//ValuesAfterColl=1

//    return status;
//}

///*
// * Ten Ham:CalulateCRC
// * Chuc nang:MFRC522 tinh toan RC522
// * Input:pIndata--Du lieu CRC vao can tinh toan,len--Chieu dai du lieu,pOutData--Ket qua tinh toan CRC
// * Tra ve: Khong
// */
//void CalulateCRC(uchar *pIndata, uchar len, uchar *pOutData)
//{
//    uchar i, n;

//    ClearBitMask(DivIrqReg, 0x04);			//CRCIrq = 0
//    SetBitMask(FIFOLevelReg, 0x80);			//Con tro FIFO
//    //Write_MFRC522(CommandReg, PCD_IDLE);

//	//Ghi du lieu vao FIFO
//    for (i=0; i<len; i++)
//    {
//		Write_MFRC522(FIFODataReg, *(pIndata+i));
//	}
//    Write_MFRC522(CommandReg, PCD_CALCCRC);

//	// Cho cho viec tinh toan CRC hoan tat
//    i = 0xFF;
//    do
//    {
//        n = Read_MFRC522(DivIrqReg);
//        i--;
//    }
//    while ((i!=0) && !(n&0x04));			//CRCIrq = 1

//	//Doc ket qua tinh toan CRC
//    pOutData[0] = Read_MFRC522(CRCResultRegL);
//    pOutData[1] = Read_MFRC522(CRCResultRegM);
//}

///*
// * Ten ham:MFRC522_SelectTag
// * Chuc nang:Lua chon the, doc dung luong bo nho the
// * Input:serNum--So serial the
// * Tra ve:Dung luong the tra ve thanh cong
// */
//uchar MFRC522_SelectTag(uchar *serNum)
//{
//	uchar i;
//	uchar status;
//	uchar size;
//	uint recvBits;
//	uchar buffer[9];

//	//ClearBitMask(Status2Reg, 0x08);			//MFCrypto1On=0

//    buffer[0] = PICC_SElECTTAG;
//    buffer[1] = 0x70;
//    for (i=0; i<5; i++)
//    {
//    	buffer[i+2] = *(serNum+i);
//    }
//	CalulateCRC(buffer, 7, &buffer[7]);		//??
//    status = MFRC522_ToCard(PCD_TRANSCEIVE, buffer, 9, buffer, &recvBits);
//
//    if ((status == MI_OK) && (recvBits == 0x18))
//    {
//		size = buffer[0];
//	}
//    else
//    {
//		size = 0;
//	}

//    return size;
//}

///*
// * Ten Ham:MFRC522_Auth
// * Chuc nang:Xac nhan mat khau the
// * Input:authMode--Che do xac thuc mat khau
//                 0x60 = Xac nhan phim A
//                 0x61 = Xac nhan phim B
//             BlockAddr--Cac khoi dia chi
//             Sectorkey--Khu vuc mat khau
//             serNum--So serial the, 4 byte
// * Tra ve:MI_OK neu thanh cong
// */
//uchar MFRC522_Auth(uchar authMode, uchar BlockAddr, uchar *Sectorkey, uchar *serNum)
//{
//    uchar status;
//    uint recvBits;
//    uchar i;
//	uchar buff[12];

//	//Xac nhan lenh + Khoi dia chi + mat khau + so nhanh
//    buff[0] = authMode;
//    buff[1] = BlockAddr;
//    for (i=0; i<6; i++)
//    {
//		buff[i+2] = *(Sectorkey+i);
//	}
//    for (i=0; i<4; i++)
//    {
//		buff[i+8] = *(serNum+i);
//	}
//    status = MFRC522_ToCard(PCD_AUTHENT, buff, 12, buff, &recvBits);

//    if ((status != MI_OK) || (!(Read_MFRC522(Status2Reg) & 0x08)))
//    {
//		status = MI_ERR;
//	}
//
//    return status;
//}

///*
// * Ten ham:MFRC522_Read
// * Chuc nang: Doc khoi du lieu
// * Input:blockAddr--Cac khoi dia chi;recvData--Khoi du lieu doc ra
// * Tra ve: MI_OK neu thanh cong
// */
//uchar MFRC522_Read(uchar blockAddr, uchar *recvData)
//{
//    uchar status;
//    uint unLen;

//    recvData[0] = PICC_READ;
//    recvData[1] = blockAddr;
//    CalulateCRC(recvData,2, &recvData[2]);
//    status = MFRC522_ToCard(PCD_TRANSCEIVE, recvData, 4, recvData, &unLen);

//    if ((status != MI_OK) || (unLen != 0x90))
//    {
//        status = MI_ERR;
//    }
//
//    return status;
//}

///*
// * Ten ham:MFRC522_Write
// * Chuc nang:Viet khoi du lieu
// * Input:blockAddr--cac khoi dia chi;writeData--du lieu ghi
// * Tra ve: MI_OK neu thanh cong
// */
//uchar MFRC522_Write(uchar blockAddr, uchar *writeData)
//{
//    uchar status;
//    uint recvBits;
//    uchar i;
//	uchar buff[18];
//
//    buff[0] = PICC_WRITE;
//    buff[1] = blockAddr;
//    CalulateCRC(buff, 2, &buff[2]);
//    status = MFRC522_ToCard(PCD_TRANSCEIVE, buff, 4, buff, &recvBits);

//    if ((status != MI_OK) || (recvBits != 4) || ((buff[0] & 0x0F) != 0x0A))
//    {
//		status = MI_ERR;
//	}
//
//    if (status == MI_OK)
//    {
//        for (i=0; i<16; i++)		//16 byte FIFO ghi du lieu vao
//        {
//        	buff[i] = *(writeData+i);
//        }
//        CalulateCRC(buff, 16, &buff[16]);
//        status = MFRC522_ToCard(PCD_TRANSCEIVE, buff, 18, buff, &recvBits);
//
//		if ((status != MI_OK) || (recvBits != 4) || ((buff[0] & 0x0F) != 0x0A))
//        {
//			status = MI_ERR;
//		}
//    }
//
//    return status;
//}

///*
// * Ten ham:MFRC522_Halt
// * CHuc nang: Dua the vao ngu dong
// * Input: Khong
// * Tra ve: Khong
// */
//void MFRC522_Halt(void)
//{
//	uint unLen;
//	uchar buff[4];

//	buff[0] = PICC_HALT;
//	buff[1] = 0;
//	CalulateCRC(buff, 2, &buff[2]);
//
//	MFRC522_ToCard(PCD_TRANSCEIVE, buff, 4, buff,&unLen);
//}
/* USER CODE END 4 */

void Error_Handler(void)
{
}

/************************ (C) COPYRIGHT STMicroelectronics *****END OF FILE****/
